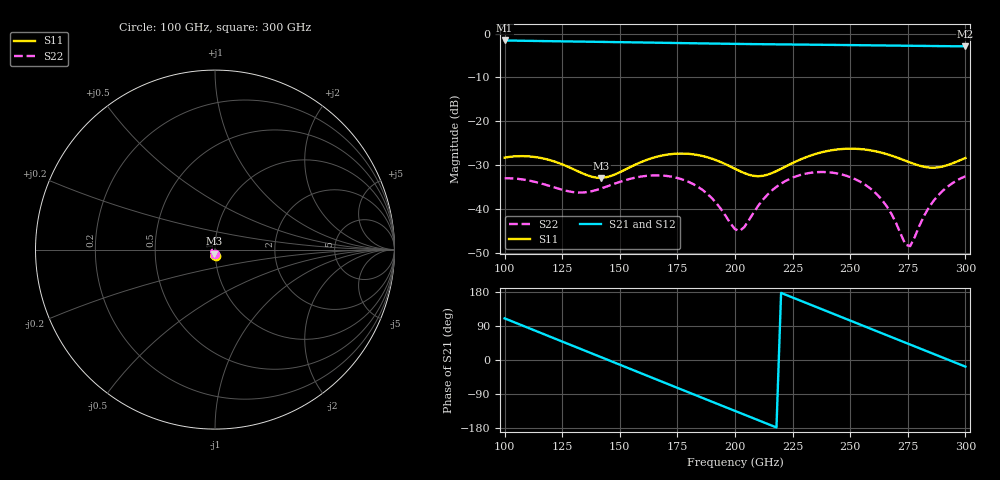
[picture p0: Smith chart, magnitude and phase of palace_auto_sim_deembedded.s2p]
! Created with skrf 1.11.0 (http://scikit-rf.org).
# GHz S DB R 50.0
!freq dBS11 angS11 dBS21 angS21 dBS12 angS12 dBS22 angS22
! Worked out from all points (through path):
!   101 points, 100 GHz to 300 GHz, reference 50 ohm
!   highest |S21| = -1.56 dB at 100 GHz (marker M1); lowest = -2.9 dB at 300 GHz (marker M2)
!   group delay of S21, straight-line fit = 6.77 ps
!   lowest |S11| = -32.9 dB at 142 GHz (marker M3), VSWR 1.05, Z = 49.6 - j2.22 ohm
!   |S11| at or under -10 dB: start of sweep to end of sweep
!   |S22| runs from -48.5 to -31.5 dB; largest |S21 - S12| = 9e-14
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100  -28.26 -80.4  -1.56 109.8  -1.56 109.8  -32.98 -86.9
108  -27.93 -93.0  -1.63 90.3  -1.63 90.3  -33.26 -97.5
116  -28.38 -104.4  -1.69 70.7  -1.69 70.7  -34.18 -105.2
134  -31.90 -112.3  -1.83 26.7  -1.83 26.7  -36.22 -100.6
142  -32.88 -99.5  -1.89 7.2  -1.89 7.2  -35.29 -95.5
154  -30.56 -85.2  -1.98 -22.2  -1.98 -22.2  -33.17 -102.1
168  -27.82 -94.5  -2.09 -56.4  -2.09 -56.4  -32.34 -123.6
178  -27.35 -107.0  -2.17 -80.8  -2.17 -80.8  -33.40 -141.6
186  -27.91 -116.5  -2.23 -100.3  -2.23 -100.3  -35.67 -154.4
200  -30.81 -122.0  -2.34 -134.3  -2.34 -134.3  -44.58 -135.2
204  -31.79 -117.8  -2.36 -144.0  -2.36 -144.0  -44.12 -101.9
212  -32.43 -101.3  -2.41 -163.5  -2.41 -163.5  -37.94 -83.3
218  -31.34 -90.8  -2.44 -178.0  -2.44 -178.0  -34.92 -90.0
234  -27.59 -90.5  -2.53 143.0  -2.53 143.0  -31.65 -121.6
244  -26.43 -99.8  -2.58 118.7  -2.58 118.7  -31.84 -143.0
252  -26.25 -108.3  -2.63 99.2  -2.63 99.2  -33.15 -159.5
262  -26.94 -117.7  -2.69 74.9  -2.69 74.9  -36.85 -177.1
268  -27.83 -121.0  -2.72 60.3  -2.72 60.3  -41.19 179.1
274  -28.98 -121.0  -2.76 45.7  -2.76 45.7  -48.10 -150.4
276  -29.38 -120.0  -2.77 40.8  -2.77 40.8  -48.46 -121.6
286  -30.57 -106.6  -2.83 16.5  -2.83 16.5  -38.25 -85.2
300  -28.35 -90.8  -2.90 -17.4  -2.90 -17.4  -32.53 -109.3
